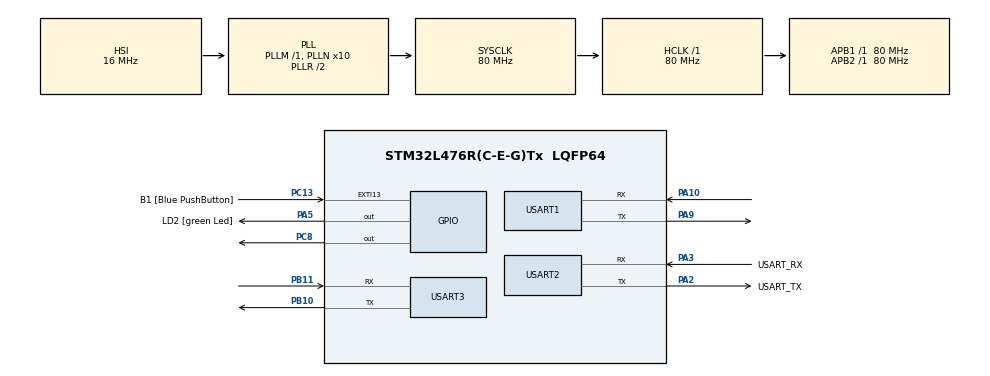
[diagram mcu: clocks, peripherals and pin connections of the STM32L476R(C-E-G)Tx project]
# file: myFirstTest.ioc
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Dma.Request0=USART1_RX
Dma.Request1=USART1_TX
Dma.USART1_RX.0.Direction=DMA_PERIPH_TO_MEMORY
Dma.USART1_RX.0.Instance=DMA1_Channel5
Dma.USART1_RX.0.MemDataAlignment=DMA_MDATAALIGN_BYTE
Dma.USART1_RX.0.MemInc=DMA_MINC_ENABLE
Dma.USART1_RX.0.Mode=DMA_NORMAL
Dma.USART1_RX.0.PeriphDataAlignment=DMA_PDATAALIGN_BYTE
Dma.USART1_RX.0.PeriphInc=DMA_PINC_DISABLE
Dma.USART1_RX.0.Priority=DMA_PRIORITY_LOW
Dma.USART1_TX.1.Direction=DMA_MEMORY_TO_PERIPH
Dma.USART1_TX.1.Instance=DMA1_Channel4
Dma.USART1_TX.1.MemDataAlignment=DMA_MDATAALIGN_BYTE
Dma.USART1_TX.1.MemInc=DMA_MINC_ENABLE
Dma.USART1_TX.1.Mode=DMA_NORMAL
Dma.USART1_TX.1.PeriphDataAlignment=DMA_PDATAALIGN_BYTE
Dma.USART1_TX.1.PeriphInc=DMA_PINC_DISABLE
Dma.USART1_TX.1.Priority=DMA_PRIORITY_LOW
FREERTOS.BinarySemaphores01=myBinarySem01,Dynamic,NULL
FREERTOS.CountingSemaphores01=myCountingSem01,2,Dynamic,NULL
FREERTOS.Queues01=myQueue01,36,uint8_t,0,Dynamic,NULL,NULL
FREERTOS.Tasks01=defaultTask,24,128,StartDefaultTask,Default,NULL,Dynamic,NULL,NULL;myTask02,8,128,StartTask02,Default,NULL,Dynamic,NULL,NULL;myTask03,9,128,StartTask03,Default,NULL,Dynamic,NULL,NULL;myTask04,10,128,StartTask04,Default,NULL,Dynamic,NULL,NULL
FREERTOS.Timers01=myTimer01,Callback01,osTimerPeriodic,Default,NULL,Dynamic,NULL
Mcu.Family=STM32L4
Mcu.Name=STM32L476R(C-E-G)Tx
Mcu.Package=LQFP64
Mcu.UserConstants=ADC_REF,1.23
NVIC.DMA1_Channel4_IRQn=true\:0\:0\:false\:false\:true\:true\:false\:true
NVIC.DMA1_Channel5_IRQn=true\:0\:0\:false\:false\:true\:true\:false\:true
NVIC.PriorityGroup=NVIC_PRIORITYGROUP_4
NVIC.TIM1_UP_TIM16_IRQn=true\:0\:0\:false\:false\:true\:false\:false\:true
NVIC.TimeBase=TIM1_UP_TIM16_IRQn
NVIC.TimeBaseIP=TIM1
NVIC.USART1_IRQn=true\:0\:0\:false\:false\:true\:true\:true\:true
PA10.Mode=Asynchronous
PA10.Signal=USART1_RX
PA13\ (JTMS-SWDIO).GPIO_Label=TMS
PA13\ (JTMS-SWDIO).Mode=Serial_Wire
PA13\ (JTMS-SWDIO).Signal=SYS_JTMS-SWDIO
PA14\ (JTCK-SWCLK).GPIO_Label=TCK
PA14\ (JTCK-SWCLK).Mode=Serial_Wire
PA14\ (JTCK-SWCLK).Signal=SYS_JTCK-SWCLK
PA2.GPIO_Label=USART_TX
PA2.GPIO_Mode=GPIO_MODE_AF_PP
PA2.GPIO_PuPd=GPIO_NOPULL
PA2.GPIO_Speed=GPIO_SPEED_FREQ_VERY_HIGH
PA2.Mode=Asynchronous
PA2.Signal=USART2_TX
PA3.GPIO_Label=USART_RX
PA3.GPIO_Mode=GPIO_MODE_AF_PP
PA3.GPIO_PuPd=GPIO_NOPULL
PA3.GPIO_Speed=GPIO_SPEED_FREQ_VERY_HIGH
PA3.Mode=Asynchronous
PA3.Signal=USART2_RX
PA5.GPIO_Label=LD2 [green Led]
PA5.GPIO_ModeDefaultOutputPP=GPIO_MODE_OUTPUT_PP
PA5.GPIO_PuPd=GPIO_NOPULL
PA5.GPIO_Speed=GPIO_SPEED_FREQ_LOW
PA5.Signal=GPIO_Output
PA9.Mode=Asynchronous
PA9.Signal=USART1_TX
PB10.Mode=Asynchronous
PB10.Signal=USART3_TX
PB11.Mode=Asynchronous
PB11.Signal=USART3_RX
PB3\ (JTDO-TRACESWO).GPIO_Label=SWO
PB3\ (JTDO-TRACESWO).Signal=SYS_JTDO-SWO
PC13.GPIO_Label=B1 [Blue PushButton]
PC13.GPIO_ModeDefaultEXTI=GPIO_MODE_IT_FALLING
PC13.GPIO_PuPd=GPIO_NOPULL
PC13.Signal=GPXTI13
PC14-OSC32_IN\ (PC14).Mode=LSE-External-Oscillator
PC14-OSC32_IN\ (PC14).Signal=RCC_OSC32_IN
PC15-OSC32_OUT\ (PC15).Mode=LSE-External-Oscillator
PC15-OSC32_OUT\ (PC15).Signal=RCC_OSC32_OUT
PC8.Signal=GPIO_Output
PH0-OSC_IN\ (PH0).Signal=RCC_OSC_IN
PH1-OSC_OUT\ (PH1).Signal=RCC_OSC_OUT
ProjectManager.HeapSize=0x200
ProjectManager.StackSize=0x400
ProjectManager.TargetToolchain=STM32CubeIDE
RCC.ADCFreq_Value=64000000
RCC.AHBFreq_Value=80000000
RCC.APB1Freq_Value=80000000
RCC.APB1TimFreq_Value=80000000
RCC.APB2Freq_Value=80000000
RCC.APB2TimFreq_Value=80000000
RCC.CortexFreq_Value=80000000
RCC.HCLKFreq_Value=80000000
RCC.HSE_VALUE=8000000
RCC.HSI_VALUE=16000000
RCC.MSI_VALUE=4000000
RCC.PLLN=10
RCC.PLLSourceVirtual=RCC_PLLSOURCE_HSI
RCC.PREFETCH_ENABLE=1
RCC.SYSCLKFreq_VALUE=80000000
RCC.SYSCLKSource=RCC_SYSCLKSOURCE_PLLCLK
RCC.USBFreq_Value=64000000
RCC.VCOOutputFreq_Value=160000000
USART1.VirtualMode-Asynchronous=VM_ASYNC
USART2.VirtualMode-Asynchronous=VM_ASYNC
USART3.VirtualMode-Asynchronous=VM_ASYNC
VP_FREERTOS_VS_CMSIS_V2.Mode=CMSIS_V2
VP_SYS_VS_tim1.Mode=TIM1
board=NUCLEO-L476RG

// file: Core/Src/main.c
/* USER CODE BEGIN Header */
/**
  ******************************************************************************
  * @file           : main.c
  * @brief          : Main program body
  ******************************************************************************
  * @attention
  *
  * <h2><center>&copy; Copyright (c) 2020 STMicroelectronics.
  * All rights reserved.</center></h2>
  *
  * This software component is licensed by ST under BSD 3-Clause license,
  * the "License"; You may not use this file except in compliance with the
  * License. You may obtain a copy of the License at:
  *                        opensource.org/licenses/BSD-3-Clause
  *
  ******************************************************************************
  */
/* USER CODE END Header */
#include "main.h"
#include "cmsis_os.h"

/* USER CODE BEGIN Includes */
#include "retarget.h"
/* USER CODE END Includes */

UART_HandleTypeDef huart1;
UART_HandleTypeDef huart2;
UART_HandleTypeDef huart3;
DMA_HandleTypeDef hdma_usart1_rx;
DMA_HandleTypeDef hdma_usart1_tx;

/* Definitions for defaultTask */
osThreadId_t defaultTaskHandle;
const osThreadAttr_t defaultTask_attributes = {
  .name = "defaultTask",
  .priority = (osPriority_t) osPriorityNormal,
  .stack_size = 128 * 4
};
/* Definitions for myTask02 */
osThreadId_t myTask02Handle;
const osThreadAttr_t myTask02_attributes = {
  .name = "myTask02",
  .priority = (osPriority_t) osPriorityLow,
  .stack_size = 128 * 4
};
/* Definitions for myTask03 */
osThreadId_t myTask03Handle;
const osThreadAttr_t myTask03_attributes = {
  .name = "myTask03",
  .priority = (osPriority_t) osPriorityLow1,
  .stack_size = 128 * 4
};
/* Definitions for myTask04 */
osThreadId_t myTask04Handle;
const osThreadAttr_t myTask04_attributes = {
  .name = "myTask04",
  .priority = (osPriority_t) osPriorityLow2,
  .stack_size = 128 * 4
};
/* Definitions for myQueue01 */
osMessageQueueId_t myQueue01Handle;
const osMessageQueueAttr_t myQueue01_attributes = {
  .name = "myQueue01"
};
/* Definitions for myTimer01 */
osTimerId_t myTimer01Handle;
const osTimerAttr_t myTimer01_attributes = {
  .name = "myTimer01"
};
/* Definitions for myBinarySem01 */
osSemaphoreId_t myBinarySem01Handle;
const osSemaphoreAttr_t myBinarySem01_attributes = {
  .name = "myBinarySem01"
};
/* Definitions for myCountingSem01 */
osSemaphoreId_t myCountingSem01Handle;
const osSemaphoreAttr_t myCountingSem01_attributes = {
  .name = "myCountingSem01"
};

/* USER CODE BEGIN PV */
uint8_t dma_buffer[1000];
uint8_t dma_rx_buffer[5];
uint8_t fg_usart1_byte_received = 0;
/* USER CODE END PV */

void SystemClock_Config(void);
static void MX_GPIO_Init(void);
static void MX_DMA_Init(void);
static void MX_USART2_UART_Init(void);
static void MX_USART1_UART_Init(void);
static void MX_USART3_UART_Init(void);
void StartDefaultTask(void *argument);
void StartTask02(void *argument);
void StartTask03(void *argument);
void StartTask04(void *argument);
void Callback01(void *argument);

/* USER CODE BEGIN PFP */
void HAL_UART_RxCpltCallback(UART_HandleTypeDef *huart);
/* USER CODE END PFP */

/* USER CODE BEGIN 0 */

/**
  * @brief  Rx Transfer completed callback.
  * @param  huart UART handle.
  * @retval None
  */
void HAL_UART_RxCpltCallback(UART_HandleTypeDef *huart)
{
  /* Prevent unused argument(s) compilation warning */
  UNUSED(huart);

  /* NOTE : This function should not be modified, when the callback is needed,
            the HAL_UART_RxCpltCallback can be implemented in the user file.
   */
  if (huart->Instance == USART1){
     fg_usart1_byte_received = 1;
     //HAL_UART_Receive_DMA(&huart1, dma_rx_buffer, 1);
  }
}
/* USER CODE END 0 */

int main(void)
{

  /* MCU Configuration--------------------------------------------------------*/

  /* Reset of all peripherals, Initializes the Flash interface and the Systick. */
  HAL_Init();

  /* USER CODE BEGIN Init */
  dma_buffer[0] = '\r';
  dma_buffer[1] = '\n';
  dma_buffer[2] = 'L';
  dma_buffer[3] = '4';
  dma_buffer[4] = '7';
  dma_buffer[5] = '6';
  dma_buffer[6] = ' ';

  for (uint16_t i = 7; i< 1000; i++){
	   dma_buffer[i] = '*';
   }
  /* USER CODE END Init */

  /* Configure the system clock */
  SystemClock_Config();

  /* Initialize all configured peripherals */
  MX_GPIO_Init();
  MX_DMA_Init();
  MX_USART2_UART_Init();
  MX_USART1_UART_Init();
  MX_USART3_UART_Init();
  /* USER CODE BEGIN 2 */
  RetargetInit(&huart2);
  /* USER CODE END 2 */

  /* Init scheduler */
  osKernelInitialize();

  /* Create the semaphores(s) */
  /* creation of myBinarySem01 */
  myBinarySem01Handle = osSemaphoreNew(1, 1, &myBinarySem01_attributes);

  /* creation of myCountingSem01 */
  myCountingSem01Handle = osSemaphoreNew(2, 2, &myCountingSem01_attributes);

  /* Create the timer(s) */
  /* creation of myTimer01 */
  myTimer01Handle = osTimerNew(Callback01, osTimerPeriodic, NULL, &myTimer01_attributes);

  /* Create the queue(s) */
  /* creation of myQueue01 */
  myQueue01Handle = osMessageQueueNew (36, sizeof(uint8_t), &myQueue01_attributes);

  /* Create the thread(s) */
  /* creation of defaultTask */
  defaultTaskHandle = osThreadNew(StartDefaultTask, NULL, &defaultTask_attributes);

  /* creation of myTask02 */
  myTask02Handle = osThreadNew(StartTask02, NULL, &myTask02_attributes);

  /* creation of myTask03 */
  myTask03Handle = osThreadNew(StartTask03, NULL, &myTask03_attributes);

  /* creation of myTask04 */
  myTask04Handle = osThreadNew(StartTask04, NULL, &myTask04_attributes);

  /* Start scheduler */
  osKernelStart();

  /* We should never get here as control is now taken by the scheduler */
  /* Infinite loop */
  while (1)
  {

  }
}

void SystemClock_Config(void)
{
  RCC_OscInitTypeDef RCC_OscInitStruct = {0};
  RCC_ClkInitTypeDef RCC_ClkInitStruct = {0};
  RCC_PeriphCLKInitTypeDef PeriphClkInit = {0};

  /** Initializes the RCC Oscillators according to the specified parameters
  * in the RCC_OscInitTypeDef structure.
  */
  RCC_OscInitStruct.OscillatorType = RCC_OSCILLATORTYPE_HSI;
  RCC_OscInitStruct.HSIState = RCC_HSI_ON;
  RCC_OscInitStruct.HSICalibrationValue = RCC_HSICALIBRATION_DEFAULT;
  RCC_OscInitStruct.PLL.PLLState = RCC_PLL_ON;
  RCC_OscInitStruct.PLL.PLLSource = RCC_PLLSOURCE_HSI;
  RCC_OscInitStruct.PLL.PLLM = 1;
  RCC_OscInitStruct.PLL.PLLN = 10;
  RCC_OscInitStruct.PLL.PLLP = RCC_PLLP_DIV7;
  RCC_OscInitStruct.PLL.PLLQ = RCC_PLLQ_DIV2;
  RCC_OscInitStruct.PLL.PLLR = RCC_PLLR_DIV2;
  if (HAL_RCC_OscConfig(&RCC_OscInitStruct) != HAL_OK)
  {
    Error_Handler();
  }
  /** Initializes the CPU, AHB and APB buses clocks
  */
  RCC_ClkInitStruct.ClockType = RCC_CLOCKTYPE_HCLK|RCC_CLOCKTYPE_SYSCLK
                              |RCC_CLOCKTYPE_PCLK1|RCC_CLOCKTYPE_PCLK2;
  RCC_ClkInitStruct.SYSCLKSource = RCC_SYSCLKSOURCE_PLLCLK;
  RCC_ClkInitStruct.AHBCLKDivider = RCC_SYSCLK_DIV1;
  RCC_ClkInitStruct.APB1CLKDivider = RCC_HCLK_DIV1;
  RCC_ClkInitStruct.APB2CLKDivider = RCC_HCLK_DIV1;

  if (HAL_RCC_ClockConfig(&RCC_ClkInitStruct, FLASH_LATENCY_4) != HAL_OK)
  {
    Error_Handler();
  }
  PeriphClkInit.PeriphClockSelection = RCC_PERIPHCLK_USART1|RCC_PERIPHCLK_USART2
                              |RCC_PERIPHCLK_USART3;
  PeriphClkInit.Usart1ClockSelection = RCC_USART1CLKSOURCE_PCLK2;
  PeriphClkInit.Usart2ClockSelection = RCC_USART2CLKSOURCE_PCLK1;
  PeriphClkInit.Usart3ClockSelection = RCC_USART3CLKSOURCE_PCLK1;
  if (HAL_RCCEx_PeriphCLKConfig(&PeriphClkInit) != HAL_OK)
  {
    Error_Handler();
  }
  /** Configure the main internal regulator output voltage
  */
  if (HAL_PWREx_ControlVoltageScaling(PWR_REGULATOR_VOLTAGE_SCALE1) != HAL_OK)
  {
    Error_Handler();
  }
}

static void MX_USART1_UART_Init(void)
{

  huart1.Instance = USART1;
  huart1.Init.BaudRate = 115200;
  huart1.Init.WordLength = UART_WORDLENGTH_8B;
  huart1.Init.StopBits = UART_STOPBITS_1;
  huart1.Init.Parity = UART_PARITY_NONE;
  huart1.Init.Mode = UART_MODE_TX_RX;
  huart1.Init.HwFlowCtl = UART_HWCONTROL_NONE;
  huart1.Init.OverSampling = UART_OVERSAMPLING_16;
  huart1.Init.OneBitSampling = UART_ONE_BIT_SAMPLE_DISABLE;
  huart1.AdvancedInit.AdvFeatureInit = UART_ADVFEATURE_NO_INIT;
  if (HAL_UART_Init(&huart1) != HAL_OK)
  {
    Error_Handler();
  }

}

static void MX_USART2_UART_Init(void)
{

  huart2.Instance = USART2;
  huart2.Init.BaudRate = 115200;
  huart2.Init.WordLength = UART_WORDLENGTH_8B;
  huart2.Init.StopBits = UART_STOPBITS_1;
  huart2.Init.Parity = UART_PARITY_NONE;
  huart2.Init.Mode = UART_MODE_TX_RX;
  huart2.Init.HwFlowCtl = UART_HWCONTROL_NONE;
  huart2.Init.OverSampling = UART_OVERSAMPLING_16;
  huart2.Init.OneBitSampling = UART_ONE_BIT_SAMPLE_DISABLE;
  huart2.AdvancedInit.AdvFeatureInit = UART_ADVFEATURE_NO_INIT;
  if (HAL_UART_Init(&huart2) != HAL_OK)
  {
    Error_Handler();
  }

}

static void MX_USART3_UART_Init(void)
{

  huart3.Instance = USART3;
  huart3.Init.BaudRate = 115200;
  huart3.Init.WordLength = UART_WORDLENGTH_8B;
  huart3.Init.StopBits = UART_STOPBITS_1;
  huart3.Init.Parity = UART_PARITY_NONE;
  huart3.Init.Mode = UART_MODE_TX_RX;
  huart3.Init.HwFlowCtl = UART_HWCONTROL_NONE;
  huart3.Init.OverSampling = UART_OVERSAMPLING_16;
  huart3.Init.OneBitSampling = UART_ONE_BIT_SAMPLE_DISABLE;
  huart3.AdvancedInit.AdvFeatureInit = UART_ADVFEATURE_NO_INIT;
  if (HAL_UART_Init(&huart3) != HAL_OK)
  {
    Error_Handler();
  }

}

static void MX_DMA_Init(void)
{

  /* DMA controller clock enable */
  __HAL_RCC_DMA1_CLK_ENABLE();

  /* DMA interrupt init */
  /* DMA1_Channel4_IRQn interrupt configuration */
  HAL_NVIC_SetPriority(DMA1_Channel4_IRQn, 0, 0);
  HAL_NVIC_EnableIRQ(DMA1_Channel4_IRQn);
  /* DMA1_Channel5_IRQn interrupt configuration */
  HAL_NVIC_SetPriority(DMA1_Channel5_IRQn, 0, 0);
  HAL_NVIC_EnableIRQ(DMA1_Channel5_IRQn);

}

static void MX_GPIO_Init(void)
{
  GPIO_InitTypeDef GPIO_InitStruct = {0};

  /* GPIO Ports Clock Enable */
  __HAL_RCC_GPIOC_CLK_ENABLE();
  __HAL_RCC_GPIOH_CLK_ENABLE();
  __HAL_RCC_GPIOA_CLK_ENABLE();
  __HAL_RCC_GPIOB_CLK_ENABLE();

  /*Configure GPIO pin Output Level */
  HAL_GPIO_WritePin(LD2_GPIO_Port, LD2_Pin, GPIO_PIN_RESET);

  /*Configure GPIO pin Output Level */
  HAL_GPIO_WritePin(GPIOC, GPIO_PIN_8, GPIO_PIN_RESET);

  /*Configure GPIO pin : B1_Pin */
  GPIO_InitStruct.Pin = B1_Pin;
  GPIO_InitStruct.Mode = GPIO_MODE_IT_FALLING;
  GPIO_InitStruct.Pull = GPIO_NOPULL;
  HAL_GPIO_Init(B1_GPIO_Port, &GPIO_InitStruct);

  /*Configure GPIO pin : LD2_Pin */
  GPIO_InitStruct.Pin = LD2_Pin;
  GPIO_InitStruct.Mode = GPIO_MODE_OUTPUT_PP;
  GPIO_InitStruct.Pull = GPIO_NOPULL;
  GPIO_InitStruct.Speed = GPIO_SPEED_FREQ_LOW;
  HAL_GPIO_Init(LD2_GPIO_Port, &GPIO_InitStruct);

  /*Configure GPIO pin : PC8 */
  GPIO_InitStruct.Pin = GPIO_PIN_8;
  GPIO_InitStruct.Mode = GPIO_MODE_OUTPUT_PP;
  GPIO_InitStruct.Pull = GPIO_NOPULL;
  GPIO_InitStruct.Speed = GPIO_SPEED_FREQ_LOW;
  HAL_GPIO_Init(GPIOC, &GPIO_InitStruct);

}

void StartDefaultTask(void *argument)
{
  for(;;)
  {
    osDelay(1);
  }
}

void StartTask02(void *argument)
{
  /* USER CODE BEGIN StartTask02 */
  /* Infinite loop */
  for(;;)
  {
	printf("Task2\r\n");
	HAL_GPIO_TogglePin(LD2_GPIO_Port, LD2_Pin);
    osDelay(1 * osKernelGetTickFreq());
  }
  /* USER CODE END StartTask02 */
}

void StartTask03(void *argument)
{
  /* USER CODE BEGIN StartTask03 */
  HAL_UART_Transmit_DMA(&huart1, dma_buffer, 100);

  HAL_UART_Receive_DMA(&huart1, dma_rx_buffer, 1);
  /* Infinite loop */
  for(;;)
  {
	  osDelay(1);
	  if (fg_usart1_byte_received == 1){
		 printf("Task3\r\n");
		 printf("New character: %c\r\n", dma_rx_buffer[0]);

         fg_usart1_byte_received = 0;
         HAL_UART_Transmit_DMA(&huart1, dma_rx_buffer, 1);
	     HAL_UART_Receive_DMA(&huart1, dma_rx_buffer, 1);
	  }

  }
  /* USER CODE END StartTask03 */
}

void StartTask04(void *argument)
{
  /* USER CODE BEGIN StartTask04 */
	uint8_t aux = GPIO_PIN_RESET;
  /* Infinite loop */
  for(;;)
  {
	printf("TESTE PIN: ");
	HAL_GPIO_WritePin(GPIOC, GPIO_PIN_8,GPIO_PIN_SET);
	osDelay(1);
	aux = HAL_GPIO_ReadPin(GPIOC,GPIO_PIN_8 );
	if (aux != GPIO_PIN_SET ){
		printf("ERRO SET GPIOC_PIN8 ");
	}
	else{
		printf("SET GPIOC_PIN8 OK ");
	}
    osDelay(1);
    aux = GPIO_PIN_SET;
	HAL_GPIO_WritePin(GPIOC, GPIO_PIN_8,GPIO_PIN_RESET);
	osDelay(1);
	aux = HAL_GPIO_ReadPin(GPIOC,GPIO_PIN_8 );
	if (aux != GPIO_PIN_RESET ){
		printf("ERRO SET GPIOC_PIN8 \r\n");
	}
	else{
		printf("RESET GPIOC_PIN8 OK \r\n");
	}

	osDelay(1 * osKernelGetTickFreq());
  }
  /* USER CODE END StartTask04 */
}

/* Callback01 function */
void Callback01(void *argument)
{
  /* USER CODE BEGIN Callback01 */
    printf("callback \r\n");
  /* USER CODE END Callback01 */
}

void HAL_TIM_PeriodElapsedCallback(TIM_HandleTypeDef *htim)
{
  if (htim->Instance == TIM1) {
    HAL_IncTick();
  }
}

void Error_Handler(void)
{
}

/************************ (C) COPYRIGHT STMicroelectronics *****END OF FILE****/
